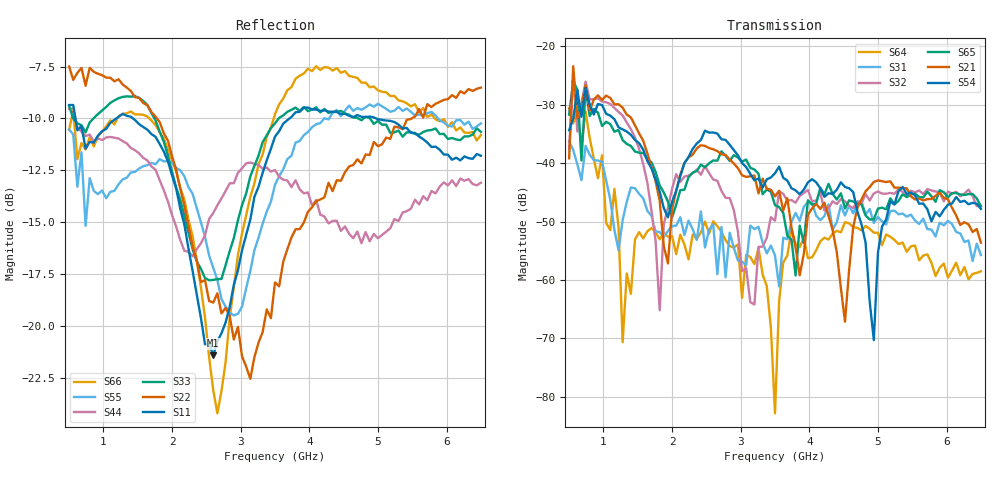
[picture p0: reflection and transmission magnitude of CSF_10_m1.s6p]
!Keysight Technologies,M9804A,MY58100912,A.14.10.03
!Date: Thursday, April 27, 2023 10:28:33
!Correction: S11(C  6-Port  )
!S12(C  6-Port  )
!S13(C  6-Port  )
!S14(C  6-Port  )
!S15(C  6-Port  )
!S16(C  6-Port  )
!S21(C  6-Port  )
!S22(C  6-Port  )
!S23(C  6-Port  )
!S24(C  6-Port  )
!S25(C  6-Port  )
!S26(C  6-Port  )
!S31(C  6-Port  )
!S32(C  6-Port  )
!S33(C  6-Port  )
!S34(C  6-Port  )
!S35(C  6-Port  )
!S36(C  6-Port  )
!S41(C  6-Port  )
!S42(C  6-Port  )
!S43(C  6-Port  )
!S44(C  6-Port  )
!S45(C  6-Port  )
!S46(C  6-Port  )
!S51(C  6-Port  )
!S52(C  6-Port  )
!S53(C  6-Port  )
!S54(C  6-Port  )
!S55(C  6-Port  )
!S56(C  6-Port  )
!S61(C  6-Port  )
!S62(C  6-Port  )
!S63(C  6-Port  )
!S64(C  6-Port  )
!S65(C  6-Port  )
!S66(C  6-Port  )
!S6P File: Measurement: :
# Hz S  RI  R 50
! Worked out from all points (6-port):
!   101 points, 500 MHz to 6.5 GHz, reference 50 ohm
!   strongest paths, dB at 500 MHz, 2 GHz, 3.5 GHz, 5 GHz, 6.5 GHz:
!     S54: -34.4, -46.6, -41.7, -55.4, -47.8
!     S21: -39.2, -47.9, -45.7, -42.9, -53.6
!     S65: -31.7, -49.3, -47.2, -47.8, -47.4
!     S32: -37.6, -44.4, -49.8, -44.8, -47.3
!     S31: -36.3, -50.8, -55.8, -49.2, -55.7
!     S64: -30.6, -52.5, -82.8, -51.9, -58.5
!   lowest |S11| = -21.4 dB at 2.6 GHz (marker M1), VSWR 1.19, Z = 42.4 + j2.18 ohm
!   |S11| at or under -10 dB: 591.7 MHz to 1.188 GHz (596.6 MHz wide, 67 % of centre); 1.43 GHz to 3.713 GHz (2.283 GHz wide, 88.8 % of centre); 4.972 GHz to end of sweep
